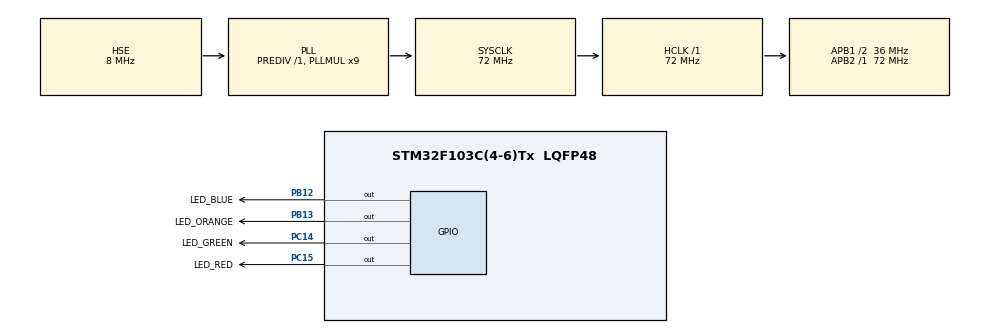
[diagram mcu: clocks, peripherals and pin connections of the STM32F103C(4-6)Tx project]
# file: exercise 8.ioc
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FREERTOS.Tasks01=defaultTask,0,128,StartDefaultTask,Default,NULL,Dynamic,NULL,NULL;greenLEDTask,-3,128,greenLEDFlashing,Default,NULL,Dynamic,NULL,NULL;redLEDTask,-3,128,redLEDFlashing,Default,NULL,Dynamic,NULL,NULL;orangeLEDTask,-3,128,orangeLEDFlashing,Default,NULL,Dynamic,NULL,NULL
Mcu.Family=STM32F1
Mcu.Name=STM32F103C(4-6)Tx
Mcu.Package=LQFP48
NVIC.PriorityGroup=NVIC_PRIORITYGROUP_4
NVIC.TIM2_IRQn=true\:15\:0\:false\:false\:true\:false\:false\:true\:true
NVIC.TimeBase=TIM2_IRQn
NVIC.TimeBaseIP=TIM2
PA13.Mode=Serial_Wire
PA13.Signal=SYS_JTMS-SWDIO
PA14.Mode=Serial_Wire
PA14.Signal=SYS_JTCK-SWCLK
PB12.GPIO_Label=LED_BLUE
PB12.Signal=GPIO_Output
PB13.GPIO_Label=LED_ORANGE
PB13.Signal=GPIO_Output
PC14-OSC32_IN.GPIO_Label=LED_GREEN
PC14-OSC32_IN.Signal=GPIO_Output
PC15-OSC32_OUT.GPIO_Label=LED_RED
PC15-OSC32_OUT.Signal=GPIO_Output
PD0-OSC_IN.Mode=HSE-External-Oscillator
PD0-OSC_IN.Signal=RCC_OSC_IN
PD1-OSC_OUT.Mode=HSE-External-Oscillator
PD1-OSC_OUT.Signal=RCC_OSC_OUT
ProjectManager.HeapSize=0x200
ProjectManager.StackSize=0x400
ProjectManager.TargetToolchain=STM32CubeIDE
RCC.AHBFreq_Value=72000000
RCC.APB1CLKDivider=RCC_HCLK_DIV2
RCC.APB1Freq_Value=36000000
RCC.APB1TimFreq_Value=72000000
RCC.APB2Freq_Value=72000000
RCC.APB2TimFreq_Value=72000000
RCC.HCLKFreq_Value=72000000
RCC.PLLMUL=RCC_PLL_MUL9
RCC.PLLSourceVirtual=RCC_PLLSOURCE_HSE
RCC.SYSCLKFreq_VALUE=72000000
RCC.SYSCLKSource=RCC_SYSCLKSOURCE_PLLCLK
RCC.USBFreq_Value=72000000
VP_FREERTOS_VS_CMSIS_V1.Mode=CMSIS_V1
VP_SYS_VS_tim2.Mode=TIM2
board=custom

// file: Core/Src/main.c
/* USER CODE BEGIN Header */
/**
  ******************************************************************************
  * @file           : main.c
  * @brief          : Main program body
  ******************************************************************************
  * @attention
  *
  * Copyright (c) 2024 STMicroelectronics.
  * All rights reserved.
  *
  * This software is licensed under terms that can be found in the LICENSE file
  * in the root directory of this software component.
  * If no LICENSE file comes with this software, it is provided AS-IS.
  *
  ******************************************************************************
  */
/* USER CODE END Header */
#include "main.h"
#include "cmsis_os.h"

/* USER CODE BEGIN PD */
volatile int StartFlag = 1;
int greenTask = 0, redTask = 0;

/* USER CODE END PD */

osThreadId defaultTaskHandle;
osThreadId greenLEDTaskHandle;
osThreadId redLEDTaskHandle;
osThreadId orangeLEDTaskHandle;
/* USER CODE BEGIN PV */
osSemaphoreId CriticalResourceSemaphoreHandle;

/* USER CODE END PV */

void SystemClock_Config(void);
static void MX_GPIO_Init(void);
void StartDefaultTask(void const * argument);
void greenLEDFlashing(void const * argument);
void redLEDFlashing(void const * argument);
void orangeLEDFlashing(void const * argument);

/* USER CODE BEGIN PFP */
void AccessSharedData(void) {
    // Check and update StartFlag atomically
//	taskENTER_CRITICAL();

	if (osSemaphoreWait(CriticalResourceSemaphoreHandle, osWaitForever) == osOK) {
		// Resource diperoleh, lakukan operasi pada resource bersama
		if (StartFlag == 1) {
			StartFlag = 0;  // Set Start flag ke Down
		} else {

		}

		osDelay(1000);
		StartFlag = 1;

		osSemaphoreRelease(CriticalResourceSemaphoreHandle);
	} else {
		HAL_GPIO_WritePin(LED_BLUE_GPIO_Port, LED_BLUE_Pin, GPIO_PIN_SET);
		osDelay(1000);

		HAL_GPIO_WritePin(LED_BLUE_GPIO_Port, LED_BLUE_Pin, GPIO_PIN_RESET);
	}

//    taskEXIT_CRITICAL();
}

/* USER CODE END PFP */

int main(void)
{

  /* MCU Configuration--------------------------------------------------------*/

  /* Reset of all peripherals, Initializes the Flash interface and the Systick. */
  HAL_Init();

  /* Configure the system clock */
  SystemClock_Config();

  /* Initialize all configured peripherals */
  MX_GPIO_Init();

  /* Create the thread(s) */
  /* definition and creation of defaultTask */
  osThreadDef(defaultTask, StartDefaultTask, osPriorityNormal, 0, 128);
  defaultTaskHandle = osThreadCreate(osThread(defaultTask), NULL);

  /* definition and creation of greenLEDTask */
  osThreadDef(greenLEDTask, greenLEDFlashing, osPriorityIdle, 0, 128);
  greenLEDTaskHandle = osThreadCreate(osThread(greenLEDTask), NULL);

  /* definition and creation of redLEDTask */
  osThreadDef(redLEDTask, redLEDFlashing, osPriorityIdle, 0, 128);
  redLEDTaskHandle = osThreadCreate(osThread(redLEDTask), NULL);

  /* definition and creation of orangeLEDTask */
  osThreadDef(orangeLEDTask, orangeLEDFlashing, osPriorityIdle, 0, 128);
  orangeLEDTaskHandle = osThreadCreate(osThread(orangeLEDTask), NULL);

  /* USER CODE BEGIN RTOS_THREADS */
  osSemaphoreDef(CriticalResourceSemaphore); CriticalResourceSemaphoreHandle =
  osSemaphoreCreate(osSemaphore(CriticalResourceSemaphore), 1);

  /* add threads, ... */
  /* USER CODE END RTOS_THREADS */

  /* Start scheduler */
  osKernelStart();

  /* We should never get here as control is now taken by the scheduler */

  /* Infinite loop */
  while (1)
  {

  }
}

void SystemClock_Config(void)
{
  RCC_OscInitTypeDef RCC_OscInitStruct = {0};
  RCC_ClkInitTypeDef RCC_ClkInitStruct = {0};

  /** Initializes the RCC Oscillators according to the specified parameters
  * in the RCC_OscInitTypeDef structure.
  */
  RCC_OscInitStruct.OscillatorType = RCC_OSCILLATORTYPE_HSE;
  RCC_OscInitStruct.HSEState = RCC_HSE_ON;
  RCC_OscInitStruct.HSEPredivValue = RCC_HSE_PREDIV_DIV1;
  RCC_OscInitStruct.HSIState = RCC_HSI_ON;
  RCC_OscInitStruct.PLL.PLLState = RCC_PLL_ON;
  RCC_OscInitStruct.PLL.PLLSource = RCC_PLLSOURCE_HSE;
  RCC_OscInitStruct.PLL.PLLMUL = RCC_PLL_MUL9;
  if (HAL_RCC_OscConfig(&RCC_OscInitStruct) != HAL_OK)
  {
    Error_Handler();
  }

  /** Initializes the CPU, AHB and APB buses clocks
  */
  RCC_ClkInitStruct.ClockType = RCC_CLOCKTYPE_HCLK|RCC_CLOCKTYPE_SYSCLK
                              |RCC_CLOCKTYPE_PCLK1|RCC_CLOCKTYPE_PCLK2;
  RCC_ClkInitStruct.SYSCLKSource = RCC_SYSCLKSOURCE_PLLCLK;
  RCC_ClkInitStruct.AHBCLKDivider = RCC_SYSCLK_DIV1;
  RCC_ClkInitStruct.APB1CLKDivider = RCC_HCLK_DIV2;
  RCC_ClkInitStruct.APB2CLKDivider = RCC_HCLK_DIV1;

  if (HAL_RCC_ClockConfig(&RCC_ClkInitStruct, FLASH_LATENCY_2) != HAL_OK)
  {
    Error_Handler();
  }
}

static void MX_GPIO_Init(void)
{
  GPIO_InitTypeDef GPIO_InitStruct = {0};

  /* GPIO Ports Clock Enable */
  __HAL_RCC_GPIOC_CLK_ENABLE();
  __HAL_RCC_GPIOD_CLK_ENABLE();
  __HAL_RCC_GPIOB_CLK_ENABLE();
  __HAL_RCC_GPIOA_CLK_ENABLE();

  /*Configure GPIO pin Output Level */
  HAL_GPIO_WritePin(GPIOC, LED_GREEN_Pin|LED_RED_Pin, GPIO_PIN_RESET);

  /*Configure GPIO pin Output Level */
  HAL_GPIO_WritePin(GPIOB, LED_BLUE_Pin|LED_ORANGE_Pin, GPIO_PIN_RESET);

  /*Configure GPIO pins : LED_GREEN_Pin LED_RED_Pin */
  GPIO_InitStruct.Pin = LED_GREEN_Pin|LED_RED_Pin;
  GPIO_InitStruct.Mode = GPIO_MODE_OUTPUT_PP;
  GPIO_InitStruct.Pull = GPIO_NOPULL;
  GPIO_InitStruct.Speed = GPIO_SPEED_FREQ_LOW;
  HAL_GPIO_Init(GPIOC, &GPIO_InitStruct);

  /*Configure GPIO pins : LED_BLUE_Pin LED_ORANGE_Pin */
  GPIO_InitStruct.Pin = LED_BLUE_Pin|LED_ORANGE_Pin;
  GPIO_InitStruct.Mode = GPIO_MODE_OUTPUT_PP;
  GPIO_InitStruct.Pull = GPIO_NOPULL;
  GPIO_InitStruct.Speed = GPIO_SPEED_FREQ_LOW;
  HAL_GPIO_Init(GPIOB, &GPIO_InitStruct);

}

void StartDefaultTask(void const * argument)
{
  for(;;)
  {
    osDelay(1);
  }
}

void greenLEDFlashing(void const * argument)
{
  /* USER CODE BEGIN greenLEDFlashing */
  /* Infinite loop */
	for(;;)
	{
		// Turn on Green LED
		HAL_GPIO_WritePin(LED_GREEN_GPIO_Port, LED_GREEN_Pin, GPIO_PIN_SET);
		greenTask = 1;

		// Try to access shared resource
		AccessSharedData();
		osDelay(200);

		// Turn off Green LED
		HAL_GPIO_WritePin(LED_GREEN_GPIO_Port, LED_GREEN_Pin, GPIO_PIN_RESET);
		greenTask = 0;

		osDelay(200);  // Wait before next cycle
	}
  /* USER CODE END greenLEDFlashing */
}

void redLEDFlashing(void const * argument)
{
  /* USER CODE BEGIN redLEDFlashing */
  /* Infinite loop */
	for(;;)
	{
		// Turn on Red LED
		HAL_GPIO_WritePin(LED_RED_GPIO_Port, LED_RED_Pin, GPIO_PIN_SET);
		redTask = 1;

		// Try to access shared resource
		AccessSharedData();
		osDelay(550);

		// Turn off Red LED
		HAL_GPIO_WritePin(LED_RED_GPIO_Port, LED_RED_Pin, GPIO_PIN_RESET);
		redTask = 0;

		osDelay(550);  // Wait before next cycle
	}
  /* USER CODE END redLEDFlashing */
}

void orangeLEDFlashing(void const * argument)
{
  /* USER CODE BEGIN orangeLEDFlashing */
  /* Infinite loop */
  for(;;)
  {
	  HAL_GPIO_TogglePin(LED_ORANGE_GPIO_Port, LED_ORANGE_Pin);
	  osDelay(50);  // Delay 50 ms untuk menghasilkan frekuensi 10 Hz
  }
  /* USER CODE END orangeLEDFlashing */
}

void HAL_TIM_PeriodElapsedCallback(TIM_HandleTypeDef *htim)
{
  if (htim->Instance == TIM2) {
    HAL_IncTick();
  }
}

void Error_Handler(void)
{
  __disable_irq();
  while (1)
  {
  }
}
